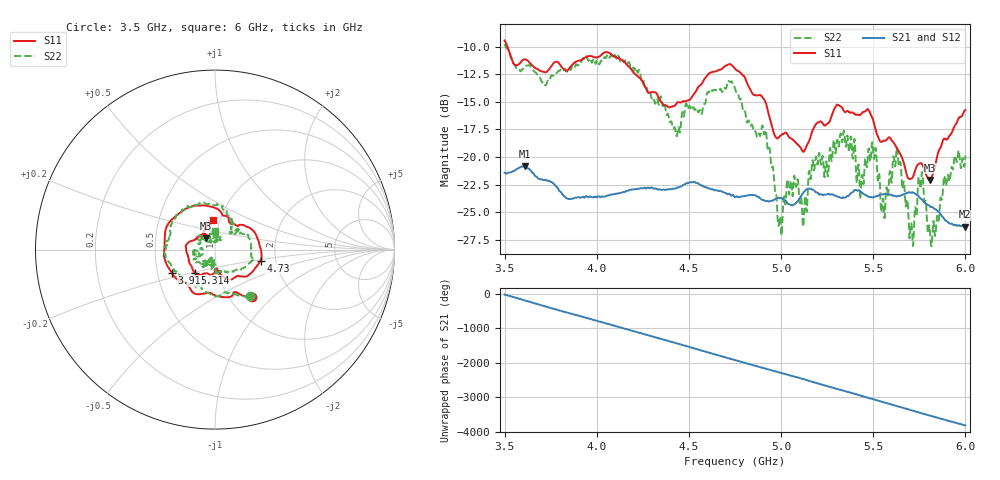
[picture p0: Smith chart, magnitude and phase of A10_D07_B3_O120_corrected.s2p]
! Created with skrf 1.9.0 (http://scikit-rf.org).
# Hz S RI R 50.0
!freq ReS11 ImS11 ReS21 ImS21 ReS12 ImS12 ReS22 ImS22
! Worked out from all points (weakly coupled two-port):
!   1601 points, 3.5 GHz to 6 GHz, reference 50 ohm
!   highest |S21| = -20.85 dB at 3.609 GHz (marker M1); lowest = -26.3 dB at 5.995 GHz (marker M2)
!   lowest |S11| = -22.1 dB at 5.808 GHz (marker M3), VSWR 1.17, Z = 45.1 + j5.63 ohm
!   |S11| at or under -10 dB: 3.515 GHz to end of sweep
!   |S22| runs from -28.1 to -9.8 dB; largest |S21 - S12| = 0.001
!   S11 on the Smith chart (normalised r, x): 3.5 GHz: 1.26, -0.76; 3.911 GHz: 0.59, -0.17; 4.73 GHz: 1.66, -0.22; 5.314 GHz: 0.78, -0.21; 6 GHz: 0.93, +0.31
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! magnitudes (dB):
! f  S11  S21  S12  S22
! 3.5 GHz  -9.5  -21.4  -21.4  -9.8
! 3.609 GHz  -11.2  -20.9  -20.9  -11.9
! 3.911 GHz  -11.3  -23.7  -23.7  -11.4
! 3.917 GHz  -11.2  -23.7  -23.7  -11.3
! 4.334 GHz  -14.6  -23.0  -22.9  -15.2
! 4.441 GHz  -15.0  -22.8  -22.7  -17.4
! 4.73 GHz  -11.7  -23.5  -23.4  -13.2
! 4.75 GHz  -12.0  -23.7  -23.6  -13.8
! 4.909 GHz  -14.8  -24.0  -23.9  -18.0
! 4.994 GHz  -18.1  -23.7  -23.7  -25.4
! 5.167 GHz  -17.8  -22.9  -22.9  -20.7
! 5.314 GHz  -15.3  -23.6  -23.6  -19.0
! 5.438 GHz  -16.0  -23.2  -23.2  -21.7
! 5.503 GHz  -16.9  -23.7  -23.6  -20.1
! 5.553 GHz  -18.5  -23.4  -23.3  -23.8
! 5.584 GHz  -18.2  -23.4  -23.4  -22.5
! 5.638 GHz  -19.5  -23.5  -23.5  -20.7
! 5.708 GHz  -22.0  -23.2  -23.2  -26.1
! 5.758 GHz  -20.6  -23.8  -23.7  -22.6
! 5.808 GHz  -22.1  -24.5  -24.5  -26.8
! 5.995 GHz  -15.8  -26.3  -26.3  -20.8
! 6 GHz  -15.8  -26.3  -26.3  -19.9
